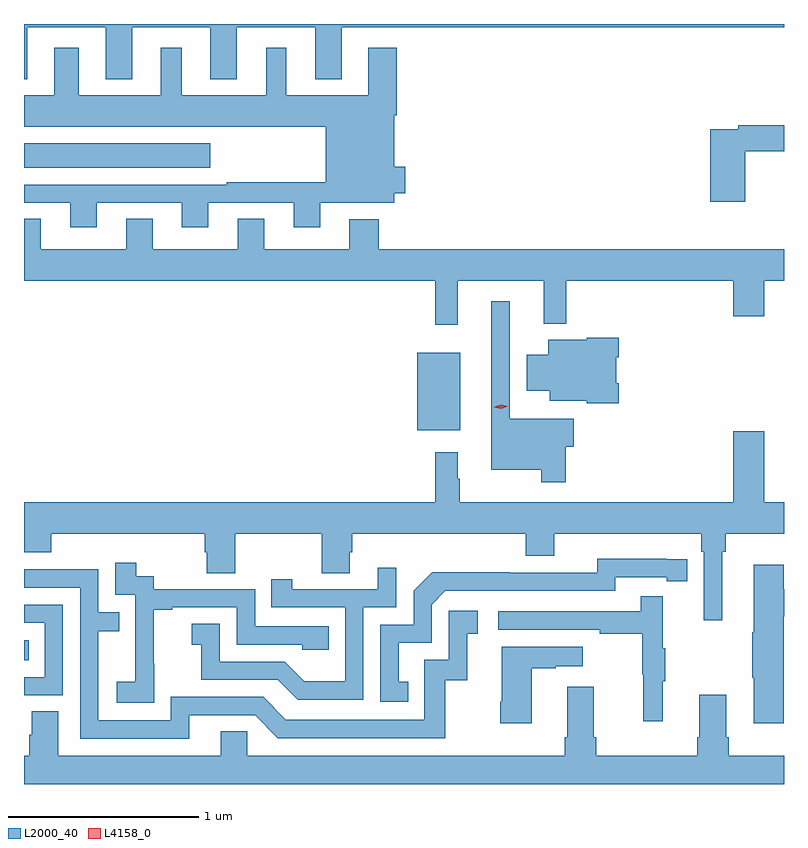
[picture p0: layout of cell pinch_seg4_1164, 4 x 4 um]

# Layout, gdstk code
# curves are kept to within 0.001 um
import gdstk
lib = gdstk.Library(unit=1e-6, precision=1e-09)
def R(c, l, rs):  # rectangles x0, y0, x1, y1
    for r in rs: c.add(gdstk.rectangle(r[:2], r[2:], *l))
def P(c, l, *ps):  # polygons
    for p in ps: c.add(gdstk.Polygon(p, *l))
L2000_40 = (2000, 40)
L4158_0 = (4158, 0)

pinch_seg4_1164 = lib.new_cell('pinch_seg4_1164')
R(pinch_seg4_1164, L2000_40, [(425.012,777.506,425.036,777.61), (427.082,778.715,427.309,779.125), (425.012,780.098,425.992,780.226)])
P(pinch_seg4_1164, L2000_40, [(425.029,780.836),(425.441,780.836),(425.441,780.563),(425.581,780.563),(425.581,780.836),(425.993,780.836),(425.993,780.563),(426.133,780.563),(426.133,780.836),(426.545,780.836),(426.545,780.563),(426.685,780.563),(426.685,780.836),(429.012,780.836),(429.012,780.854),(425.012,780.854),(425.012,780.563),(425.029,780.563)],
  [(425.395,779.913),(425.843,779.913),(425.843,779.784),(425.983,779.784),(425.983,779.913),(426.431,779.913),(426.431,779.784),(426.571,779.784),(426.571,779.912),(426.961,779.912),(426.961,779.962),(427.018,779.962),(427.018,780.104),(426.961,780.104),(426.961,780.374),(426.974,780.374),(426.974,780.73),(426.824,780.73),(426.824,780.478),(426.391,780.478),(426.391,780.73),(426.287,780.73),(426.287,780.478),(425.842,780.478),(425.842,780.73),(425.732,780.73),(425.732,780.478),(425.299,780.478),(425.299,780.73),(425.171,780.73),(425.171,780.478),(425.012,780.478),(425.012,780.314),(426.599,780.314),(426.599,780.022),(426.079,780.022),(426.079,780.009),(425.012,780.009),(425.012,779.913),(425.255,779.913),(425.255,779.784),(425.395,779.784)],
  [(428.807,780.184),(429.012,780.184),(429.012,780.32),(428.77,780.32),(428.77,780.3),(428.624,780.3),(428.624,779.919),(428.807,779.919)],
  [(425.012,779.828),(425.012,779.504),(427.177,779.504),(427.177,779.271),(427.295,779.271),(427.295,779.504),(427.748,779.504),(427.748,779.276),(427.865,779.276),(427.865,779.504),(428.744,779.504),(428.744,779.316),(428.908,779.316),(428.908,779.504),(429.012,779.504),(429.012,779.668),(426.878,779.668),(426.878,779.827),(426.725,779.827),(426.725,779.668),(426.277,779.668),(426.277,779.828),(426.137,779.828),(426.137,779.668),(425.689,779.668),(425.689,779.828),(425.549,779.828),(425.549,779.668),(425.101,779.668),(425.101,779.828)],
  [(427.862,778.63),(427.906,778.63),(427.906,778.777),(427.569,778.777),(427.569,779.395),(427.472,779.395),(427.472,778.508),(427.734,778.508),(427.734,778.443),(427.862,778.443)],
  [(428.141,778.963),(428.128,778.963),(428.128,779.099),(428.141,779.099),(428.141,779.203),(427.974,779.203),(427.974,779.191),(427.772,779.191),(427.772,779.113),(427.658,779.113),(427.658,778.925),(427.778,778.925),(427.778,778.871),(427.974,778.871),(427.974,778.859),(428.141,778.859)],
  [(428.686,778.076),(428.705,778.076),(428.705,778.172),(429.012,778.172),(429.012,778.336),(428.908,778.336),(428.908,778.711),(428.744,778.711),(428.744,778.336),(427.306,778.336),(427.306,778.46),(427.294,778.46),(427.294,778.6),(427.177,778.6),(427.177,778.336),(425.012,778.336),(425.012,778.073),(425.156,778.073),(425.156,778.172),(425.963,778.172),(425.963,778.074),(425.975,778.074),(425.975,777.964),(426.123,777.964),(426.123,778.172),(426.58,778.172),(426.58,777.964),(426.727,777.964),(426.727,778.074),(426.74,778.074),(426.74,778.172),(427.652,778.172),(427.652,778.055),(427.804,778.055),(427.804,778.172),(428.576,778.172),(428.576,778.076),(428.589,778.076),(428.589,777.717),(428.686,777.717)],
  [(427.034,777.393),(426.985,777.393),(426.985,777.597),(427.158,777.597),(427.158,777.798),(427.23,777.87),(428.124,777.87),(428.124,777.942),(428.396,777.942),(428.396,777.922),(428.504,777.922),(428.504,778.038),(428.028,778.039),(428.028,777.966),(427.568,777.966),(427.568,777.968),(427.16,777.968),(427.062,777.87),(427.062,777.693),(426.888,777.693),(426.888,777.288),(427.034,777.288)],
  [(425.697,777.487),(425.696,777.487),(425.696,777.771),(425.791,777.771),(425.791,777.783),(426.132,777.783),(426.132,777.588),(426.477,777.588),(426.477,777.561),(426.617,777.561),(426.617,777.684),(426.228,777.684),(426.228,777.879),(425.694,777.879),(425.694,777.948),(425.602,777.948),(425.602,778.018),(425.493,778.018),(425.493,777.849),(425.598,777.849),(425.598,777.62),(425.597,777.62),(425.597,777.391),(425.499,777.391),(425.499,777.281),(425.697,777.281)],
  [(429.011,777.737),(429.012,777.737),(429.012,777.879),(429.011,777.879),(429.011,778.009),(428.852,778.009),(428.852,777.653),(428.845,777.653),(428.845,777.412),(428.852,777.412),(428.852,777.174),(429.011,777.174)],
  [(426.798,777.783),(426.972,777.783),(426.972,777.991),(426.875,777.991),(426.875,777.879),(426.424,777.879),(426.424,777.931),(426.313,777.931),(426.313,777.783),(426.702,777.783),(426.702,777.394),(426.488,777.394),(426.384,777.498),(426.042,777.498),(426.042,777.697),(425.895,777.697),(425.895,777.587),(425.944,777.587),(425.944,777.402),(426.347,777.402),(426.452,777.297),(426.798,777.297)],
  [(425.881,777.216),(426.228,777.216),(426.348,777.096),(427.228,777.096),(427.228,777.399),(427.346,777.399),(427.346,777.645),(427.399,777.645),(427.399,777.766),(427.248,777.766),(427.248,777.507),(427.119,777.507),(427.119,777.192),(426.39,777.192),(426.27,777.312),(425.784,777.312),(425.784,777.189),(425.403,777.189),(425.403,777.658),(425.513,777.658),(425.513,777.759),(425.403,777.759),(425.403,777.984),(425.012,777.984),(425.012,777.888),(425.307,777.888),(425.307,777.093),(425.881,777.093)],
  [(428.375,777.395),(428.386,777.395),(428.386,777.569),(428.375,777.569),(428.375,777.841),(428.257,777.841),(428.257,777.762),(427.509,777.762),(427.509,777.666),(428.041,777.666),(428.041,777.646),(428.265,777.646),(428.265,777.432),(428.272,777.432),(428.272,777.183),(428.375,777.183)],
  [(425.217,777.798),(425.012,777.798),(425.012,777.702),(425.121,777.702),(425.121,777.417),(425.012,777.417),(425.012,777.321),(425.217,777.321)],
  [(427.684,777.463),(427.811,777.463),(427.811,777.473),(427.954,777.473),(427.954,777.577),(427.526,777.577),(427.526,777.286),(427.519,777.286),(427.519,777.174),(427.684,777.174)],
  [(429.012,777.004),(428.72,777.004),(428.72,777.1),(428.707,777.1),(428.707,777.325),(428.567,777.325),(428.567,777.1),(428.555,777.1),(428.555,777.004),(428.024,777.004),(428.024,777.1),(428.011,777.1),(428.011,777.367),(427.871,777.367),(427.871,777.1),(427.859,777.1),(427.859,777.004),(426.186,777.004),(426.186,777.131),(426.047,777.131),(426.047,777.004),(425.191,777.004),(425.191,777.236),(425.052,777.236),(425.052,777.113),(425.039,777.113),(425.039,777.004),(425.012,777.004),(425.012,776.854),(429.012,776.854)])
P(pinch_seg4_1164, L4158_0, [(427.524,778.83),(427.488,778.838),(427.488,778.838),(427.488,778.839),(427.523,778.85),(427.558,778.842),(427.559,778.842),(427.558,778.842)])

lib.write_gds('pinch_seg4_1164.gds')
